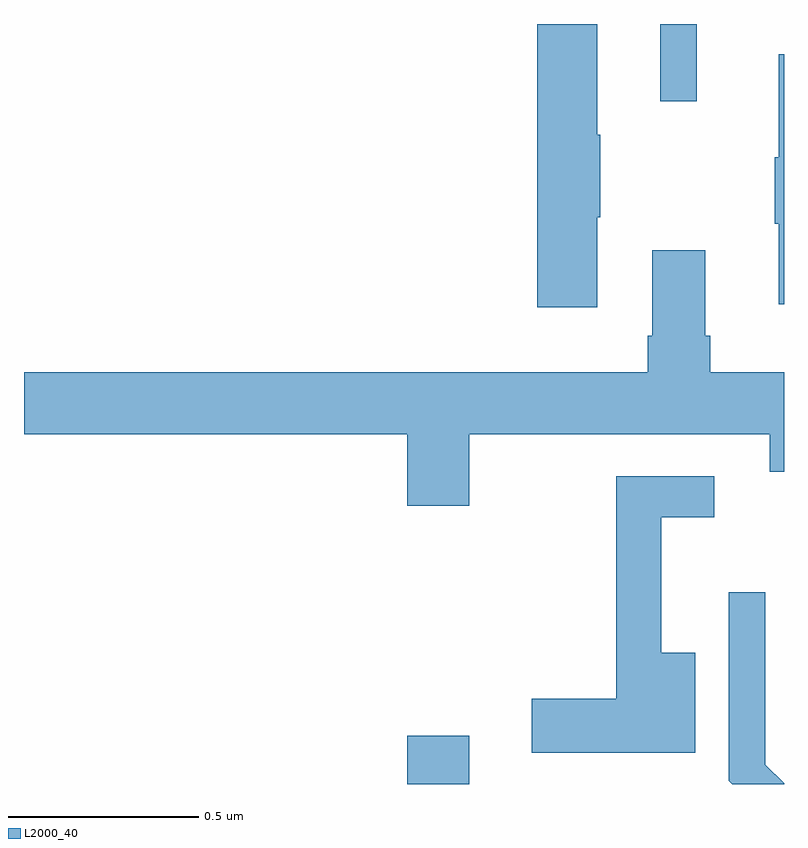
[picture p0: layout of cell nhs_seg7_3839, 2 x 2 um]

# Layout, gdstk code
import gdstk
lib = gdstk.Library(unit=1e-6, precision=1e-09)
def R(c, l, rs):  # rectangles x0, y0, x1, y1
    for r in rs: c.add(gdstk.rectangle(r[:2], r[2:], *l))
def P(c, l, *ps):  # polygons
    for p in ps: c.add(gdstk.Polygon(p, *l))
L2000_40 = (2000, 40)

nhs_seg7_3839 = lib.new_cell('nhs_seg7_3839')
R(nhs_seg7_3839, L2000_40, [(165.008,1029,165.172,1029.127), (165.674,1030.797,165.771,1031)])
P(nhs_seg7_3839, L2000_40, [(165.508,1030.492),(165.516,1030.492),(165.516,1030.709),(165.508,1030.709),(165.508,1031),(165.35,1031),(165.35,1030.254),(165.508,1030.254)],
  [(166,1030.921),(165.986,1030.921),(165.986,1030.649),(165.975,1030.649),(165.975,1030.475),(165.986,1030.475),(165.986,1030.263),(166,1030.263)],
  [(165.172,1029.92),(165.962,1029.92),(165.962,1029.822),(166,1029.822),(166,1030.084),(165.806,1030.084),(165.806,1030.18),(165.793,1030.18),(165.793,1030.405),(165.653,1030.405),(165.653,1030.18),(165.641,1030.18),(165.641,1030.084),(164,1030.084),(164,1029.92),(165.008,1029.92),(165.008,1029.732),(165.172,1029.732)],
  [(165.766,1029.346),(165.677,1029.346),(165.677,1029.702),(165.817,1029.702),(165.817,1029.81),(165.559,1029.81),(165.559,1029.224),(165.336,1029.224),(165.336,1029.082),(165.766,1029.082)],
  [(166,1029.002),(165.951,1029.051),(165.951,1029.505),(165.855,1029.505),(165.855,1029.009),(165.864,1029),(166,1029)])

lib.write_gds('nhs_seg7_3839.gds')
